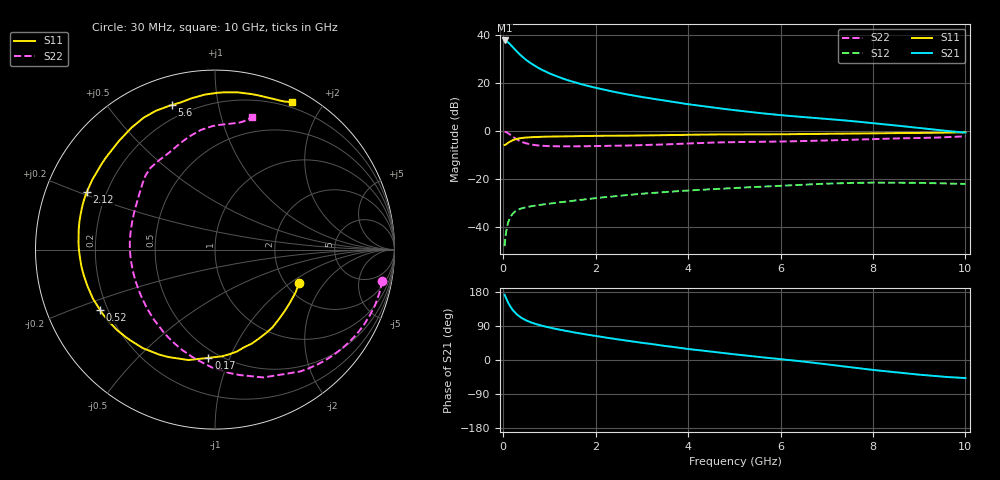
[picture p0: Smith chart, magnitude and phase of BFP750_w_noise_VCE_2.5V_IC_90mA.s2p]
! Infineon Technologies  Discrete & RF Semiconductors
! BFP750
! VCE =  2.5 V,  IC =  90 mA
! Common Emitter S-Parameters:  Jan 2016
# GHz  S  MA  R  50
!  f  S11  S21  S12  S22
! GHz  MAG  ANG  MAG  ANG  MAG  ANG  MAG  ANG
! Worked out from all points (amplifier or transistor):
!   229 points, 30 MHz to 10 GHz, reference 50 ohm
!   highest |S21| = 37.7 dB at 30 MHz (marker M1)
!   |S21| within 3 dB of that: start of sweep to 216.5 MHz
!   unconditionally stable (mu >= 1): 3.228 GHz to end of sweep
!   at 280 MHz: K = 0.21, MSG = 33.4 dB, |S12| = -33.4 dB
!   at 1.78 GHz: K = 0.79, MSG = 23.8 dB, |S12| = -28.6 dB
!   at 10 GHz: K = 1.04, MAG = 9.4 dB, |S12| = -22.2 dB
!   lowest NFmin = 1.47 dB at 450 MHz
!   S11 on the Smith chart (normalised r, x): 30 MHz: 2.36, -1.17; 170 MHz: 0.44, -0.84; 520 MHz: 0.17, -0.24; 2.12 GHz: 0.13, +0.21; 5.6 GHz: 0.13, +0.74; 10 GHz: 0.14, +1.64
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0.03  0.5045 -21.5  76.42 172.0  0.0039 81.8  0.9476 -10.6
0.05  0.5117 -35.3  75.85 165.8  0.0063 76.3  0.9443 -19.0
0.07  0.5262 -47.4  73.97 160.4  0.0087 72.2  0.929 -27.0
0.1  0.5533 -64.0  70.44 152.9  0.0115 65.6  0.8955 -38.3
0.14  0.5885 -82.2  64.84 143.9  0.0147 58.6  0.8421 -51.9
0.17  0.6041 -93.5  60.41 138.4  0.0166 54.0  0.7958 -60.5
0.2  0.6328 -103.5  56.26 132.7  0.0184 50.1  0.7615 -69.3
0.24  0.6523 -113.4  51.17 127.2  0.0201 45.8  0.7126 -78.8
0.3  0.6805 -126.2  44.44 119.7  0.022 41.0  0.6559 -91.7
0.4  0.7061 -140.5  35.91 110.7  0.0241 35.6  0.5874 -108.4
0.52  0.723 -152.1  28.93 103.4  0.0257 32.2  0.5377 -123.1
0.7  0.7392 -164.1  22.06 95.1  0.0275 29.8  0.5 -139.5
1  0.7542 -176.8  15.7 85.5  0.0301 28.8  0.4769 -157.1
1.3  0.7644 174.1  12.17 78.1  0.0327 28.8  0.4719 -168.8
1.7  0.7751 164.4  9.302 69.4  0.0363 28.8  0.4741 179.7
2.12  0.7824 155.7  7.404 61.2  0.0403 27.9  0.4788 170.1
3.4  0.8037 133.3  4.375 38.9  0.0519 22.4  0.514 146.7
5.1  0.8401 112.0  2.617 13.8  0.0645 12.2  0.5811 127.2
5.6  0.8405 106.7  2.311 7.2  0.068 8.8  0.5876 121.4
6.8  0.8598 95.7  1.829 -8.4  0.0771 -0.2  0.6185 109.2
8.4  0.8898 77.0  1.313 -31.4  0.0827 -15.9  0.6874 91.4
10  0.9271 62.4  0.913 -47.7  0.0778 -27.8  0.7652 74.5
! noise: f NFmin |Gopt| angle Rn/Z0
0.45  1.47  0.31  -169  0.33
0.9  1.48  0.4  -164  0.16
1.5  1.49  0.49  -154  0.09
1.9  1.49  0.5  -149  0.1
2.4  1.5  0.5  -142  0.12
3.5  1.74  0.51  -125  0.17
